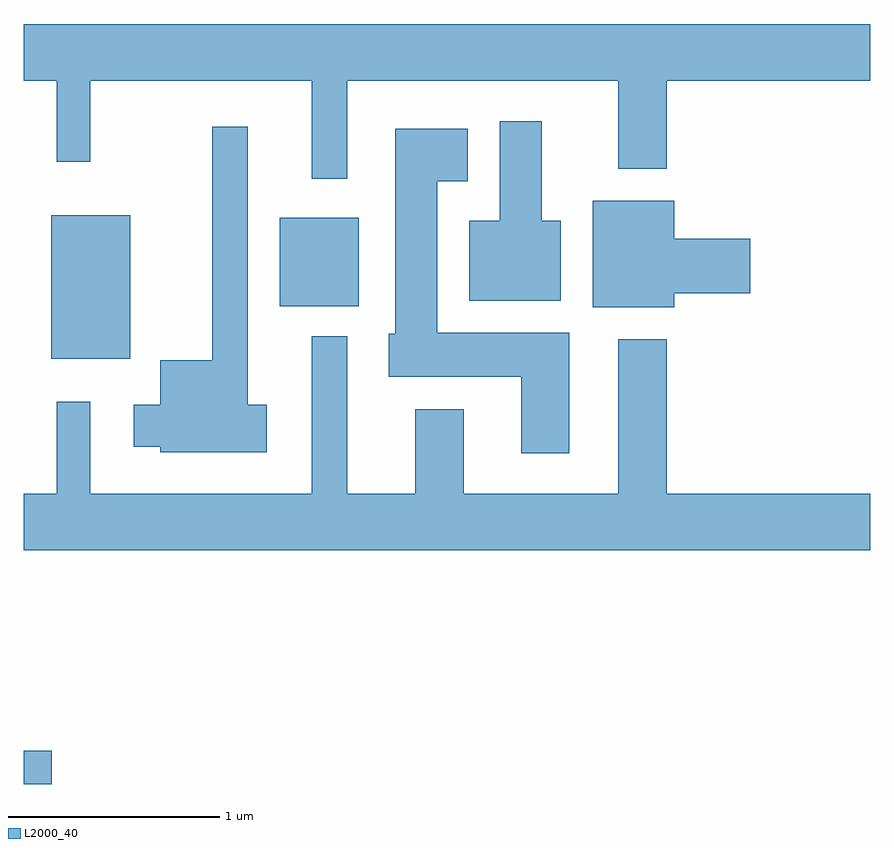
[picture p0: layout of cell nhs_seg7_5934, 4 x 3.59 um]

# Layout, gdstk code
import gdstk
lib = gdstk.Library(unit=1e-6, precision=1e-09)
def R(c, l, rs):  # rectangles x0, y0, x1, y1
    for r in rs: c.add(gdstk.rectangle(r[:2], r[2:], *l))
def P(c, l, *ps):  # polygons
    for p in ps: c.add(gdstk.Polygon(p, *l))
L2000_40 = (2000, 40)

nhs_seg7_5934 = lib.new_cell('nhs_seg7_5934')
R(nhs_seg7_5934, L2000_40, [(365.611,1784.252,365.744,1784.409), (365.741,1786.261,366.114,1786.939), (366.821,1786.511,367.194,1786.929)])
P(nhs_seg7_5934, L2000_40, [(367.139,1787.576),(368.421,1787.576),(368.421,1787.161),(368.649,1787.161),(368.649,1787.576),(369.611,1787.576),(369.611,1787.844),(365.611,1787.844),(365.611,1787.576),(365.766,1787.576),(365.766,1787.193),(365.924,1787.193),(365.924,1787.576),(366.971,1787.576),(366.971,1787.113),(367.139,1787.113)],
  [(368.149,1786.914),(368.059,1786.914),(368.059,1787.384),(367.861,1787.384),(367.861,1786.914),(367.716,1786.914),(367.716,1786.536),(368.149,1786.536)],
  [(366.759,1786.044),(366.669,1786.044),(366.669,1787.358),(366.501,1787.358),(366.501,1786.254),(366.256,1786.254),(366.256,1786.044),(366.131,1786.044),(366.131,1785.846),(366.256,1785.846),(366.256,1785.821),(366.759,1785.821)],
  [(368.189,1786.384),(367.564,1786.384),(367.564,1787.101),(367.709,1787.101),(367.709,1787.349),(367.366,1787.349),(367.366,1786.379),(367.336,1786.379),(367.336,1786.176),(367.961,1786.176),(367.961,1785.816),(368.189,1785.816)],
  [(368.684,1786.571),(369.044,1786.571),(369.044,1786.829),(368.684,1786.829),(368.684,1787.009),(368.301,1787.009),(368.301,1786.506),(368.684,1786.506)],
  [(369.611,1785.624),(368.649,1785.624),(368.649,1786.354),(368.421,1786.354),(368.421,1785.624),(367.689,1785.624),(367.689,1786.024),(367.461,1786.024),(367.461,1785.624),(367.139,1785.624),(367.139,1786.368),(366.971,1786.368),(366.971,1785.624),(365.924,1785.624),(365.924,1786.058),(365.766,1786.058),(365.766,1785.624),(365.611,1785.624),(365.611,1785.356),(369.611,1785.356)])

lib.write_gds('nhs_seg7_5934.gds')
